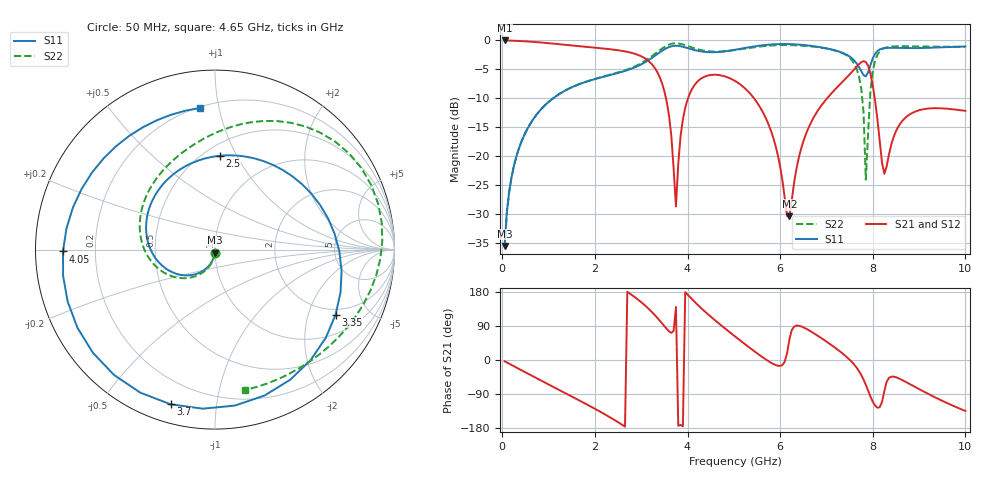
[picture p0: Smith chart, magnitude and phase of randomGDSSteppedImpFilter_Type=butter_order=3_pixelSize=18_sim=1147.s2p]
! freq	dB(S11)	phase(S11)	dB(S12)	phase(S12)
!  dB(S21)	phase(S21)	dB(S22)	phase(S22)
!S-par simulation data
#  GHz  S  DB  R 50
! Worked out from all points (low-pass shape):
!   200 points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, 50 MHz to 10 GHz, reference 50 ohm
!   highest |S21| = -0.01 dB at 50 MHz (marker M1); lowest = -30.4 dB at 6.2 GHz (marker M2)
!   |S21| within 3 dB of the highest: start of sweep to 3.061 GHz
!   lowest |S11| = -35.5 dB at 50 MHz (marker M3), VSWR 1.03, Z = 49.9 - j1.67 ohm
!   |S11| at or under -10 dB: start of sweep to 1.097 GHz
!   |S22| runs from -35.6 to -0.5 dB; largest |S21 - S12| = 0
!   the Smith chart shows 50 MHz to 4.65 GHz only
!   S11 on the Smith chart (normalised r, x): 50 MHz: 1.00, -0.03; 2.5 GHz: 0.59, +0.85; 3.35 GHz: 1.74, -3.03; 3.7 GHz: 0.09, -0.75; 4.05 GHz: 0.08, -0.01; 4.65 GHz: 0.21, +0.88
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0.05  -35.53 -93.1  -0.01 -3.3  -0.01 -3.3  -35.55 -92.9
0.5  -15.93 -124.9  -0.16 -32.6  -0.16 -32.6  -15.92 -121.3
1.75  -7.30 148.6  -1.06 -112.3  -1.06 -112.3  -7.28 165.5
2.5  -5.62 87.2  -1.70 -164.1  -1.70 -164.1  -5.55 123.1
3.35  -2.34 -28.4  -5.51 111.0  -5.51 111.0  -1.99 64.3
3.4  -2.06 -38.5  -6.35 103.9  -6.35 103.9  -1.69 59.1
3.7  -0.95 -106.1  -22.16 76.7  -22.16 76.7  -0.52 22.4
3.75  -0.92 -117.6  -28.69 139.9  -28.69 139.9  -0.50 15.8
4.05  -1.44 -179.3  -9.17 166.4  -9.17 166.4  -1.10 -20.3
4.65  -2.01 96.1  -5.96 99.0  -5.96 99.0  -1.94 -77.9
5.05  -1.58 53.1  -7.12 59.9  -7.12 59.9  -1.64 -115.5
5.65  -0.81 -5.2  -12.76 4.7  -12.76 4.7  -0.99 -174.9
6.2  -0.63 -54.6  -30.38 54.1  -30.38 54.1  -0.81 129.8
6.7  -0.97 -96.8  -13.67 72.7  -13.67 72.7  -1.06 81.8
7.65  -3.95 -178.0  -4.55 -20.0  -4.55 -20.0  -4.86 -18.3
7.8  -6.00 179.2  -3.59 -51.4  -3.59 -51.4  -12.29 -54.6
7.85  -6.22 -175.7  -3.73 -65.5  -3.73 -65.5  -24.07 -89.2
8  -3.10 -175.1  -7.76 -110.1  -7.76 -110.1  -5.29 69.9
8.25  -1.33 150.4  -23.06 -81.8  -23.06 -81.8  -1.32 18.8
8.35  -1.28 138.4  -19.68 -47.2  -19.68 -47.2  -1.11 7.3
9  -1.32 72.5  -12.07 -76.8  -12.07 -76.8  -1.05 -37.0
10  -1.04 -5.6  -12.17 -134.5  -12.17 -134.5  -1.14 -80.5
